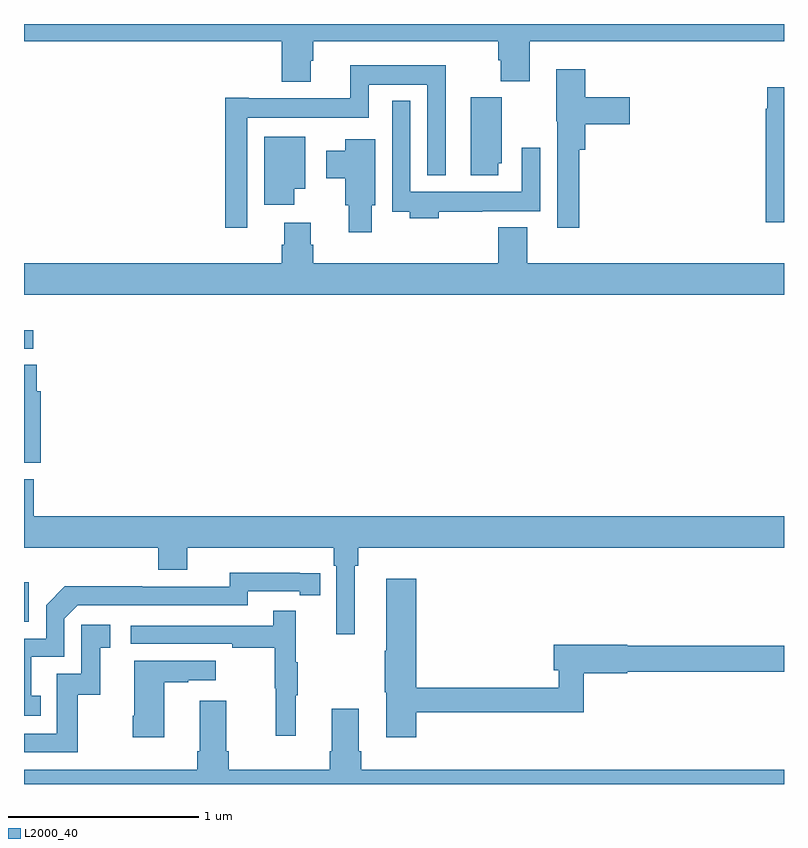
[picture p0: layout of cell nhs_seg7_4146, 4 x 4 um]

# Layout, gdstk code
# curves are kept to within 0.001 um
import gdstk
lib = gdstk.Library(unit=1e-6, precision=1e-09)
def R(c, l, rs):  # rectangles x0, y0, x1, y1
    for r in rs: c.add(gdstk.rectangle(r[:2], r[2:], *l))
def P(c, l, *ps):  # polygons
    for p in ps: c.add(gdstk.Polygon(p, *l))
L2000_40 = (2000, 40)

nhs_seg7_4146 = lib.new_cell('nhs_seg7_4146')
R(nhs_seg7_4146, L2000_40, [(373,1038.855,373.026,1039.063), (373,1040.292,373.048,1040.388)])
P(nhs_seg7_4146, L2000_40, [(377,1042),(373,1042),(373,1041.908),(374.357,1041.908),(374.357,1041.695),(374.509,1041.695),(374.509,1041.807),(374.522,1041.807),(374.522,1041.908),(375.497,1041.908),(375.497,1041.809),(375.509,1041.809),(375.509,1041.7),(375.662,1041.7),(375.662,1041.908),(377,1041.908)],
  [(374.175,1041.506),(374.814,1041.506),(374.814,1041.68),(375.123,1041.68),(375.123,1041.203),(375.22,1041.203),(375.22,1041.784),(374.717,1041.784),(374.717,1041.61),(374.182,1041.61),(374.182,1041.613),(374.059,1041.613),(374.059,1040.928),(374.175,1040.928)],
  [(375.923,1041.338),(375.953,1041.338),(375.953,1041.473),(376.189,1041.473),(376.189,1041.615),(375.953,1041.615),(375.953,1041.763),(375.8,1041.763),(375.8,1041.489),(375.807,1041.489),(375.807,1040.928),(375.923,1040.928)],
  [(377,1041.667),(376.911,1041.667),(376.911,1041.554),(376.903,1041.554),(376.903,1040.957),(377,1040.957)],
  [(375.496,1041.267),(375.514,1041.267),(375.514,1041.615),(375.35,1041.615),(375.35,1041.204),(375.496,1041.204)],
  [(375.182,1041.012),(375.413,1041.012),(375.413,1041.014),(375.717,1041.014),(375.717,1041.349),(375.621,1041.349),(375.621,1041.118),(375.033,1041.118),(375.033,1041.595),(374.937,1041.595),(374.937,1041.012),(375.029,1041.012),(375.029,1040.978),(375.182,1040.978)],
  [(374.422,1041.134),(374.479,1041.134),(374.479,1041.406),(374.264,1041.406),(374.264,1041.048),(374.422,1041.048)],
  [(374.83,1041.045),(374.848,1041.045),(374.848,1041.394),(374.69,1041.394),(374.69,1041.334),(374.591,1041.334),(374.591,1041.187),(374.69,1041.187),(374.69,1041.045),(374.708,1041.045),(374.708,1040.904),(374.83,1040.904)],
  [(377,1040.74),(375.649,1040.74),(375.649,1040.929),(375.497,1040.929),(375.497,1040.74),(374.522,1040.74),(374.522,1040.838),(374.509,1040.838),(374.509,1040.953),(374.369,1040.953),(374.369,1040.838),(374.357,1040.838),(374.357,1040.74),(373,1040.74),(373,1040.576),(377,1040.576)],
  [(373.088,1040.067),(373.067,1040.067),(373.067,1040.207),(373,1040.207),(373,1039.691),(373.088,1039.691)],
  [(374.74,1039.148),(374.759,1039.148),(374.759,1039.244),(377,1039.244),(377,1039.408),(373.052,1039.408),(373.052,1039.603),(373,1039.603),(373,1039.244),(373.706,1039.244),(373.706,1039.127),(373.858,1039.127),(373.858,1039.244),(374.63,1039.244),(374.63,1039.148),(374.643,1039.148),(374.643,1038.789),(374.74,1038.789)],
  [(373.088,1038.465),(373.039,1038.465),(373.039,1038.669),(373.212,1038.669),(373.212,1038.87),(373.284,1038.942),(374.178,1038.942),(374.178,1039.014),(374.45,1039.014),(374.45,1038.994),(374.558,1038.994),(374.558,1039.11),(374.082,1039.111),(374.082,1039.038),(373.622,1039.038),(373.622,1039.04),(373.214,1039.04),(373.116,1038.942),(373.116,1038.765),(373,1038.765),(373,1038.36),(373.088,1038.36)],
  [(375.065,1038.378),(375.947,1038.378),(375.947,1038.584),(376.176,1038.584),(376.176,1038.592),(377,1038.592),(377,1038.728),(376.176,1038.728),(376.176,1038.734),(375.788,1038.734),(375.788,1038.599),(375.815,1038.599),(375.815,1038.506),(375.065,1038.506),(375.065,1039.081),(374.906,1039.081),(374.906,1038.701),(374.899,1038.701),(374.899,1038.483),(374.906,1038.483),(374.906,1038.246),(375.065,1038.246)],
  [(374.429,1038.467),(374.44,1038.467),(374.44,1038.641),(374.429,1038.641),(374.429,1038.913),(374.311,1038.913),(374.311,1038.834),(373.563,1038.834),(373.563,1038.738),(374.095,1038.738),(374.095,1038.718),(374.319,1038.718),(374.319,1038.504),(374.326,1038.504),(374.326,1038.255),(374.429,1038.255)],
  [(373.282,1038.471),(373.4,1038.471),(373.4,1038.717),(373.453,1038.717),(373.453,1038.838),(373.302,1038.838),(373.302,1038.579),(373.173,1038.579),(373.173,1038.264),(373,1038.264),(373,1038.168),(373.282,1038.168)],
  [(373.738,1038.535),(373.865,1038.535),(373.865,1038.545),(374.008,1038.545),(374.008,1038.649),(373.58,1038.649),(373.58,1038.358),(373.573,1038.358),(373.573,1038.246),(373.738,1038.246)],
  [(377,1038.076),(374.774,1038.076),(374.774,1038.172),(374.761,1038.172),(374.761,1038.397),(374.621,1038.397),(374.621,1038.172),(374.609,1038.172),(374.609,1038.076),(374.078,1038.076),(374.078,1038.172),(374.065,1038.172),(374.065,1038.439),(373.925,1038.439),(373.925,1038.172),(373.913,1038.172),(373.913,1038.076),(373,1038.076),(373,1038),(377,1038)])

lib.write_gds('nhs_seg7_4146.gds')
